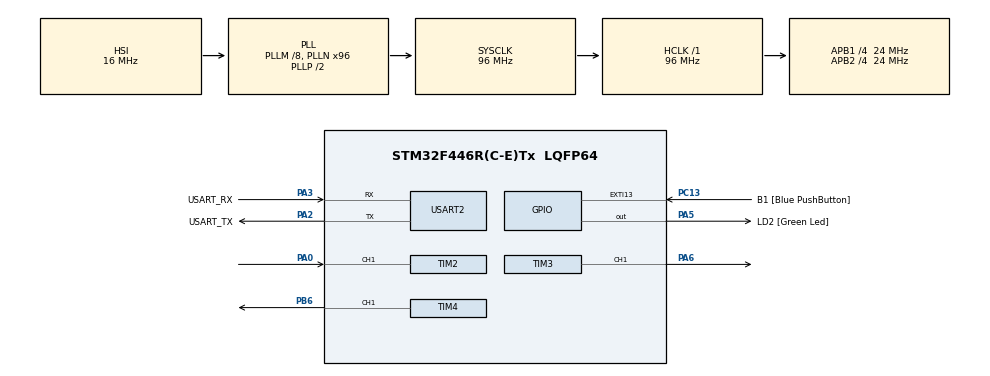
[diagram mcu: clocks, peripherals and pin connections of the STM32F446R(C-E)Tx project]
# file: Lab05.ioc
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Mcu.Family=STM32F4
Mcu.Name=STM32F446R(C-E)Tx
Mcu.Package=LQFP64
NVIC.PriorityGroup=NVIC_PRIORITYGROUP_0
NVIC.TIM2_IRQn=true\:0\:0\:false\:false\:true\:true\:true\:true
NVIC.USART2_IRQn=true\:0\:0\:false\:false\:true\:true\:true\:true
PA0-WKUP.Signal=S_TIM2_CH1_ETR
PA13.GPIO_Label=TMS
PA13.Mode=Serial_Wire
PA13.Signal=SYS_JTMS-SWDIO
PA14.GPIO_Label=TCK
PA14.Mode=Serial_Wire
PA14.Signal=SYS_JTCK-SWCLK
PA2.GPIO_Label=USART_TX
PA2.Mode=Asynchronous
PA2.Signal=USART2_TX
PA3.GPIO_Label=USART_RX
PA3.Mode=Asynchronous
PA3.Signal=USART2_RX
PA5.GPIO_Label=LD2 [Green Led]
PA5.Signal=GPIO_Output
PA6.Signal=S_TIM3_CH1
PB3.GPIO_Label=SWO
PB3.Signal=SYS_JTDO-SWO
PB6.Signal=S_TIM4_CH1
PC13.GPIO_Label=B1 [Blue PushButton]
PC13.GPIO_ModeDefaultEXTI=GPIO_MODE_IT_FALLING
PC13.Signal=GPXTI13
PC14-OSC32_IN.Mode=LSE-External-Oscillator
PC14-OSC32_IN.Signal=RCC_OSC32_IN
PC15-OSC32_OUT.Mode=LSE-External-Oscillator
PC15-OSC32_OUT.Signal=RCC_OSC32_OUT
PH0-OSC_IN.Mode=HSE-External-Oscillator
PH0-OSC_IN.Signal=RCC_OSC_IN
PH1-OSC_OUT.Mode=HSE-External-Oscillator
PH1-OSC_OUT.Signal=RCC_OSC_OUT
ProjectManager.HeapSize=0x200
ProjectManager.StackSize=0x400
ProjectManager.TargetToolchain=STM32CubeIDE
RCC.48MHZClocksFreq_Value=84000000
RCC.AHBFreq_Value=96000000
RCC.APB1CLKDivider=RCC_HCLK_DIV4
RCC.APB1Freq_Value=24000000
RCC.APB1TimFreq_Value=48000000
RCC.APB2CLKDivider=RCC_HCLK_DIV4
RCC.APB2Freq_Value=24000000
RCC.APB2TimFreq_Value=48000000
RCC.CortexFreq_Value=96000000
RCC.FLatency-AdvancedSettings=FLASH_LATENCY_3
RCC.HCLKFreq_Value=96000000
RCC.HSE_VALUE=8000000
RCC.HSI_VALUE=16000000
RCC.PLLM=8
RCC.PLLN=96
RCC.SYSCLKFreq_VALUE=96000000
RCC.SYSCLKSource=RCC_SYSCLKSOURCE_PLLCLK
RCC.USBFreq_Value=96000000
RCC.VCOOutputFreq_Value=192000000
SH.S_TIM2_CH1_ETR.0=TIM2_CH1,Input_Capture1_from_TI1
SH.S_TIM3_CH1.0=TIM3_CH1,PWM Generation1 CH1
SH.S_TIM4_CH1.0=TIM4_CH1,PWM Generation1 CH1
TIM2.AutoReloadPreload=TIM_AUTORELOAD_PRELOAD_ENABLE
TIM2.Channel-Input_Capture1_from_TI1=TIM_CHANNEL_1
TIM2.CounterMode=TIM_COUNTERMODE_UP
TIM2.Prescaler=48-1
TIM3.AutoReloadPreload=TIM_AUTORELOAD_PRELOAD_DISABLE
TIM3.Channel-PWM\ Generation1\ CH1=TIM_CHANNEL_1
TIM3.Period=499-1
TIM3.Prescaler=48000-1
TIM3.Pulse-PWM\ Generation1\ CH1=250
TIM4.Channel-PWM\ Generation1\ CH1=TIM_CHANNEL_1
TIM4.Period=1999-1
TIM4.Prescaler=48000-1
TIM4.Pulse-PWM\ Generation1\ CH1=1000
USART2.VirtualMode=VM_ASYNC
VP_TIM2_VS_ClockSourceINT.Mode=Internal
VP_TIM3_VS_ClockSourceINT.Mode=Internal
VP_TIM4_VS_ClockSourceINT.Mode=Internal
board=NUCLEO-F446RE

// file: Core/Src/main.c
/* USER CODE BEGIN Header */
/**
  ******************************************************************************
  * @file           : main.c
  * @brief          : Main program body
  ******************************************************************************
  * @attention
  *
  * Copyright (c) 2026 STMicroelectronics.
  * All rights reserved.
  *
  * This software is licensed under terms that can be found in the LICENSE file
  * in the root directory of this software component.
  * If no LICENSE file comes with this software, it is provided AS-IS.
  *
  ******************************************************************************
  */
/* USER CODE END Header */
#include "main.h"

/* USER CODE BEGIN Includes */
#include <stdio.h>
#include <string.h>
/* USER CODE END Includes */

/* USER CODE BEGIN PTD */
#define ftimclk 1000000
/* USER CODE END PTD */

TIM_HandleTypeDef htim2;
TIM_HandleTypeDef htim3;
TIM_HandleTypeDef htim4;

UART_HandleTypeDef huart2;

/* USER CODE BEGIN PV */
// Variables TIM2
uint8_t flagMedicion = 0;
volatile uint32_t flanco1 = 0;
volatile uint32_t flanco2 = 0;
volatile uint8_t num_flanco = 0;
volatile uint32_t delta = 0;
float frecuencia = 0;

// Variables UART
uint8_t buffer[10];
uint8_t temp[10];
uint8_t dato = 80;
uint8_t array[20];
uint8_t indx = 0;

/* USER CODE END PV */

void SystemClock_Config(void);
static void MX_GPIO_Init(void);
static void MX_TIM2_Init(void);
static void MX_USART2_UART_Init(void);
static void MX_TIM3_Init(void);
static void MX_TIM4_Init(void);
/* USER CODE BEGIN PFP */
void HAL_TIM_IC_CaptureCallback(TIM_HandleTypeDef *htim);
/* USER CODE END PFP */

int main(void)
{

  /* MCU Configuration--------------------------------------------------------*/

  /* Reset of all peripherals, Initializes the Flash interface and the Systick. */
  HAL_Init();

  /* Configure the system clock */
  SystemClock_Config();

  /* Initialize all configured peripherals */
  MX_GPIO_Init();
  MX_TIM2_Init();
  MX_USART2_UART_Init();
  MX_TIM3_Init();
  MX_TIM4_Init();
  /* USER CODE BEGIN 2 */
  HAL_TIM_IC_Start_IT(&htim2, TIM_CHANNEL_1);
  HAL_TIM_PWM_Start(&htim3, TIM_CHANNEL_1);
  HAL_TIM_PWM_Start(&htim4, TIM_CHANNEL_1);
  /* USER CODE END 2 */

  /* Infinite loop */
  /* USER CODE BEGIN WHILE */
  while (1)
  {

	  while(flagMedicion == 0);
	  flagMedicion = 0;

	  delta = flanco2 - flanco1;
	  frecuencia = (ftimclk) / (float) delta;

	  sprintf(array, "%.2f", frecuencia);
	  HAL_UART_Transmit(&huart2, array, strlen(array), 1000);

	  HAL_TIM_IC_Start_IT(&htim2, TIM_CHANNEL_1);

    /* USER CODE END WHILE */

  }
}

void SystemClock_Config(void)
{
  RCC_OscInitTypeDef RCC_OscInitStruct = {0};
  RCC_ClkInitTypeDef RCC_ClkInitStruct = {0};

  /** Configure the main internal regulator output voltage
  */
  __HAL_RCC_PWR_CLK_ENABLE();
  __HAL_PWR_VOLTAGESCALING_CONFIG(PWR_REGULATOR_VOLTAGE_SCALE3);

  /** Initializes the RCC Oscillators according to the specified parameters
  * in the RCC_OscInitTypeDef structure.
  */
  RCC_OscInitStruct.OscillatorType = RCC_OSCILLATORTYPE_HSI;
  RCC_OscInitStruct.HSIState = RCC_HSI_ON;
  RCC_OscInitStruct.HSICalibrationValue = RCC_HSICALIBRATION_DEFAULT;
  RCC_OscInitStruct.PLL.PLLState = RCC_PLL_ON;
  RCC_OscInitStruct.PLL.PLLSource = RCC_PLLSOURCE_HSI;
  RCC_OscInitStruct.PLL.PLLM = 8;
  RCC_OscInitStruct.PLL.PLLN = 96;
  RCC_OscInitStruct.PLL.PLLP = RCC_PLLP_DIV2;
  RCC_OscInitStruct.PLL.PLLQ = 2;
  RCC_OscInitStruct.PLL.PLLR = 2;
  if (HAL_RCC_OscConfig(&RCC_OscInitStruct) != HAL_OK)
  {
    Error_Handler();
  }

  /** Initializes the CPU, AHB and APB buses clocks
  */
  RCC_ClkInitStruct.ClockType = RCC_CLOCKTYPE_HCLK|RCC_CLOCKTYPE_SYSCLK
                              |RCC_CLOCKTYPE_PCLK1|RCC_CLOCKTYPE_PCLK2;
  RCC_ClkInitStruct.SYSCLKSource = RCC_SYSCLKSOURCE_PLLCLK;
  RCC_ClkInitStruct.AHBCLKDivider = RCC_SYSCLK_DIV1;
  RCC_ClkInitStruct.APB1CLKDivider = RCC_HCLK_DIV4;
  RCC_ClkInitStruct.APB2CLKDivider = RCC_HCLK_DIV4;

  if (HAL_RCC_ClockConfig(&RCC_ClkInitStruct, FLASH_LATENCY_3) != HAL_OK)
  {
    Error_Handler();
  }
}

static void MX_TIM2_Init(void)
{

  TIM_ClockConfigTypeDef sClockSourceConfig = {0};
  TIM_MasterConfigTypeDef sMasterConfig = {0};
  TIM_IC_InitTypeDef sConfigIC = {0};

  htim2.Instance = TIM2;
  htim2.Init.Prescaler = 48-1;
  htim2.Init.CounterMode = TIM_COUNTERMODE_UP;
  htim2.Init.Period = 4294967295;
  htim2.Init.ClockDivision = TIM_CLOCKDIVISION_DIV1;
  htim2.Init.AutoReloadPreload = TIM_AUTORELOAD_PRELOAD_ENABLE;
  if (HAL_TIM_Base_Init(&htim2) != HAL_OK)
  {
    Error_Handler();
  }
  sClockSourceConfig.ClockSource = TIM_CLOCKSOURCE_INTERNAL;
  if (HAL_TIM_ConfigClockSource(&htim2, &sClockSourceConfig) != HAL_OK)
  {
    Error_Handler();
  }
  if (HAL_TIM_IC_Init(&htim2) != HAL_OK)
  {
    Error_Handler();
  }
  sMasterConfig.MasterOutputTrigger = TIM_TRGO_RESET;
  sMasterConfig.MasterSlaveMode = TIM_MASTERSLAVEMODE_DISABLE;
  if (HAL_TIMEx_MasterConfigSynchronization(&htim2, &sMasterConfig) != HAL_OK)
  {
    Error_Handler();
  }
  sConfigIC.ICPolarity = TIM_INPUTCHANNELPOLARITY_RISING;
  sConfigIC.ICSelection = TIM_ICSELECTION_DIRECTTI;
  sConfigIC.ICPrescaler = TIM_ICPSC_DIV1;
  sConfigIC.ICFilter = 0;
  if (HAL_TIM_IC_ConfigChannel(&htim2, &sConfigIC, TIM_CHANNEL_1) != HAL_OK)
  {
    Error_Handler();
  }

}

static void MX_TIM3_Init(void)
{

  TIM_ClockConfigTypeDef sClockSourceConfig = {0};
  TIM_MasterConfigTypeDef sMasterConfig = {0};
  TIM_OC_InitTypeDef sConfigOC = {0};

  htim3.Instance = TIM3;
  htim3.Init.Prescaler = 48000-1;
  htim3.Init.CounterMode = TIM_COUNTERMODE_UP;
  htim3.Init.Period = 499-1;
  htim3.Init.ClockDivision = TIM_CLOCKDIVISION_DIV1;
  htim3.Init.AutoReloadPreload = TIM_AUTORELOAD_PRELOAD_DISABLE;
  if (HAL_TIM_Base_Init(&htim3) != HAL_OK)
  {
    Error_Handler();
  }
  sClockSourceConfig.ClockSource = TIM_CLOCKSOURCE_INTERNAL;
  if (HAL_TIM_ConfigClockSource(&htim3, &sClockSourceConfig) != HAL_OK)
  {
    Error_Handler();
  }
  if (HAL_TIM_PWM_Init(&htim3) != HAL_OK)
  {
    Error_Handler();
  }
  sMasterConfig.MasterOutputTrigger = TIM_TRGO_RESET;
  sMasterConfig.MasterSlaveMode = TIM_MASTERSLAVEMODE_DISABLE;
  if (HAL_TIMEx_MasterConfigSynchronization(&htim3, &sMasterConfig) != HAL_OK)
  {
    Error_Handler();
  }
  sConfigOC.OCMode = TIM_OCMODE_PWM1;
  sConfigOC.Pulse = 250;
  sConfigOC.OCPolarity = TIM_OCPOLARITY_HIGH;
  sConfigOC.OCFastMode = TIM_OCFAST_DISABLE;
  if (HAL_TIM_PWM_ConfigChannel(&htim3, &sConfigOC, TIM_CHANNEL_1) != HAL_OK)
  {
    Error_Handler();
  }
  HAL_TIM_MspPostInit(&htim3);

}

static void MX_TIM4_Init(void)
{

  TIM_ClockConfigTypeDef sClockSourceConfig = {0};
  TIM_MasterConfigTypeDef sMasterConfig = {0};
  TIM_OC_InitTypeDef sConfigOC = {0};

  htim4.Instance = TIM4;
  htim4.Init.Prescaler = 48000-1;
  htim4.Init.CounterMode = TIM_COUNTERMODE_UP;
  htim4.Init.Period = 1999-1;
  htim4.Init.ClockDivision = TIM_CLOCKDIVISION_DIV1;
  htim4.Init.AutoReloadPreload = TIM_AUTORELOAD_PRELOAD_DISABLE;
  if (HAL_TIM_Base_Init(&htim4) != HAL_OK)
  {
    Error_Handler();
  }
  sClockSourceConfig.ClockSource = TIM_CLOCKSOURCE_INTERNAL;
  if (HAL_TIM_ConfigClockSource(&htim4, &sClockSourceConfig) != HAL_OK)
  {
    Error_Handler();
  }
  if (HAL_TIM_PWM_Init(&htim4) != HAL_OK)
  {
    Error_Handler();
  }
  sMasterConfig.MasterOutputTrigger = TIM_TRGO_RESET;
  sMasterConfig.MasterSlaveMode = TIM_MASTERSLAVEMODE_DISABLE;
  if (HAL_TIMEx_MasterConfigSynchronization(&htim4, &sMasterConfig) != HAL_OK)
  {
    Error_Handler();
  }
  sConfigOC.OCMode = TIM_OCMODE_PWM1;
  sConfigOC.Pulse = 1000;
  sConfigOC.OCPolarity = TIM_OCPOLARITY_HIGH;
  sConfigOC.OCFastMode = TIM_OCFAST_DISABLE;
  if (HAL_TIM_PWM_ConfigChannel(&htim4, &sConfigOC, TIM_CHANNEL_1) != HAL_OK)
  {
    Error_Handler();
  }
  HAL_TIM_MspPostInit(&htim4);

}

static void MX_USART2_UART_Init(void)
{

  huart2.Instance = USART2;
  huart2.Init.BaudRate = 115200;
  huart2.Init.WordLength = UART_WORDLENGTH_8B;
  huart2.Init.StopBits = UART_STOPBITS_1;
  huart2.Init.Parity = UART_PARITY_NONE;
  huart2.Init.Mode = UART_MODE_TX_RX;
  huart2.Init.HwFlowCtl = UART_HWCONTROL_NONE;
  huart2.Init.OverSampling = UART_OVERSAMPLING_16;
  if (HAL_UART_Init(&huart2) != HAL_OK)
  {
    Error_Handler();
  }

}

static void MX_GPIO_Init(void)
{
  GPIO_InitTypeDef GPIO_InitStruct = {0};

  /* GPIO Ports Clock Enable */
  __HAL_RCC_GPIOC_CLK_ENABLE();
  __HAL_RCC_GPIOH_CLK_ENABLE();
  __HAL_RCC_GPIOA_CLK_ENABLE();
  __HAL_RCC_GPIOB_CLK_ENABLE();

  /*Configure GPIO pin Output Level */
  HAL_GPIO_WritePin(LD2_GPIO_Port, LD2_Pin, GPIO_PIN_RESET);

  /*Configure GPIO pin : B1_Pin */
  GPIO_InitStruct.Pin = B1_Pin;
  GPIO_InitStruct.Mode = GPIO_MODE_IT_FALLING;
  GPIO_InitStruct.Pull = GPIO_NOPULL;
  HAL_GPIO_Init(B1_GPIO_Port, &GPIO_InitStruct);

  /*Configure GPIO pin : LD2_Pin */
  GPIO_InitStruct.Pin = LD2_Pin;
  GPIO_InitStruct.Mode = GPIO_MODE_OUTPUT_PP;
  GPIO_InitStruct.Pull = GPIO_NOPULL;
  GPIO_InitStruct.Speed = GPIO_SPEED_FREQ_LOW;
  HAL_GPIO_Init(LD2_GPIO_Port, &GPIO_InitStruct);

}

/* USER CODE BEGIN 4 */
void HAL_TIM_IC_CaptureCallback(TIM_HandleTypeDef *htim)
{
	if(num_flanco == 0) {
		flanco1 = HAL_TIM_ReadCapturedValue(htim, TIM_CHANNEL_1);
		num_flanco = 1;
	}
	else {
		flanco2 = HAL_TIM_ReadCapturedValue(htim, TIM_CHANNEL_1);
		HAL_TIM_IC_Stop(&htim2, TIM_CHANNEL_1);

		num_flanco = 0;
		flagMedicion = 1;
	}
}
/* USER CODE END 4 */

void Error_Handler(void)
{
  __disable_irq();
  while (1)
  {
  }
}
